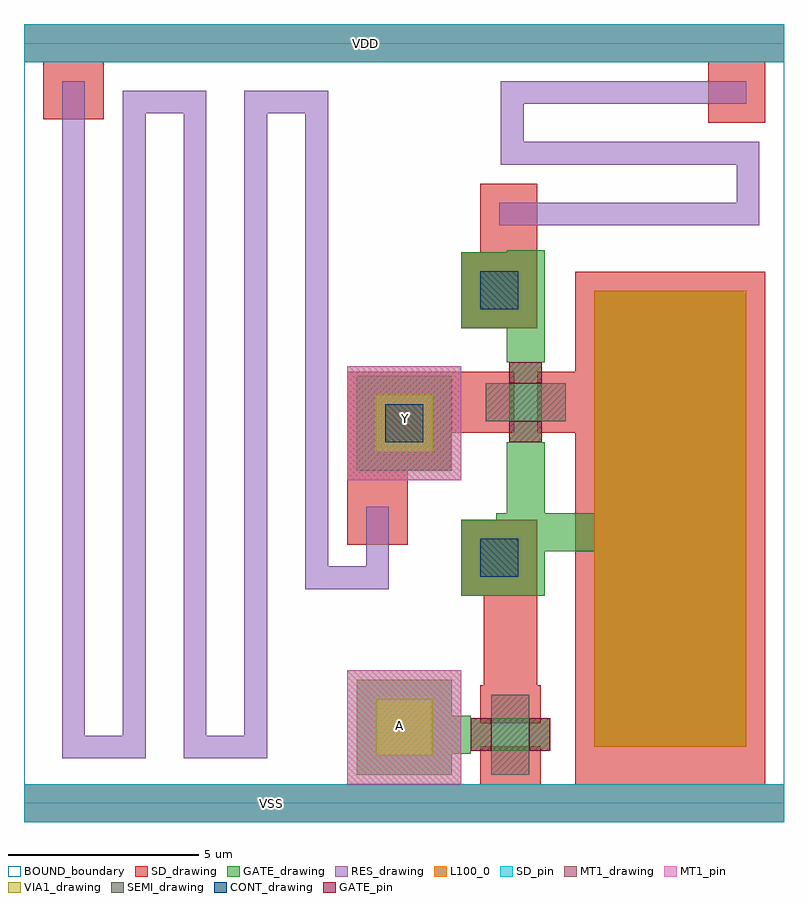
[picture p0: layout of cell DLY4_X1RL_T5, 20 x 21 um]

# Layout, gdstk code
from math import pi, radians
import gdstk
lib = gdstk.Library(unit=1e-6, precision=1e-09)
def R(c, l, rs):  # rectangles x0, y0, x1, y1
    for r in rs: c.add(gdstk.rectangle(r[:2], r[2:], *l))
def P(c, l, *ps):  # polygons
    for p in ps: c.add(gdstk.Polygon(p, *l))
RES_drawing = (1, 0)
SEMI_drawing = (3, 0)
SD_drawing = (10, 0)
SD_pin = (10, 3)
GATE_drawing = (11, 0)
GATE_pin = (11, 3)
MT1_drawing = (20, 0)
MT1_pin = (20, 3)
CONT_drawing = (30, 0)
VIA1_drawing = (41, 0)
L100_0 = (100, 0)
BOUND_boundary = (150, 5)

nch_cdns_772544874980 = lib.new_cell('nch_CDNS_772544874980')
R(nch_cdns_772544874980, SEMI_drawing, [(-1.05,-0.5,1.05,0.5)])
R(nch_cdns_772544874980, SD_drawing, [(-1.3,-0.8,-0.3,0.8), (0.3,-0.8,1.3,0.8)])
R(nch_cdns_772544874980, GATE_drawing, [(-0.425,-1.05,0.425,1.05)])
R(nch_cdns_772544874980, GATE_pin, [(-0.425,-1.05,0.425,-0.5), (-0.425,0.5,0.425,1.05)])

cap_cdns_772544874981 = lib.new_cell('cap_CDNS_772544874981')
R(cap_cdns_772544874981, SD_drawing, [(-6.5,-2.5,6.5,2.5)])
R(cap_cdns_772544874981, GATE_drawing, [(-6,-2,6,2)])
R(cap_cdns_772544874981, L100_0, [(-6,-2,6,2)])

sd_gate_cdns_77254487498 = lib.new_cell('SD_GATE_CDNS_772544874980')
R(sd_gate_cdns_77254487498, SD_drawing, [(-1,-1,1,1)])
R(sd_gate_cdns_77254487498, GATE_drawing, [(-1,-1,1,1)])
R(sd_gate_cdns_77254487498, CONT_drawing, [(-0.5,-0.5,0.5,0.5)])

c_sd_gate_cdns_77254487498 = lib.new_cell('SD_GATE_CDNS_772544874981')
R(c_sd_gate_cdns_77254487498, SD_drawing, [(-1.25,-1.25,1.25,1.25)])
R(c_sd_gate_cdns_77254487498, GATE_drawing, [(-1.25,-1.25,1.25,1.25)])
R(c_sd_gate_cdns_77254487498, CONT_drawing, [(-0.5,-0.5,0.5,0.5)])

gate_mt1_cdns_7725448749 = lib.new_cell('GATE_MT1_CDNS_772544874982')
R(gate_mt1_cdns_7725448749, GATE_drawing, [(-1.25,-1.25,1.25,1.25)])
R(gate_mt1_cdns_7725448749, MT1_drawing, [(-1.25,-1.25,1.25,1.25)])
R(gate_mt1_cdns_7725448749, VIA1_drawing, [(-0.75,-0.75,0.75,0.75)])

dly4_x1rl_t5 = lib.new_cell('DLY4_X1RL_T5')
R(dly4_x1rl_t5, SD_drawing, [(0,-0.5,20,0.5), (12.1,3.1,13.5,5.75), (8.5,6.8,10.1,11.35), (12,14.7,13.5,16.3), (18,17.9,19.5,19.5), (0.5,18,2.1,19.5), (0,19.5,20,20.5)])
R(dly4_x1rl_t5, SD_pin, [(0,-0.5,20,0.5), (0,19.5,20,20.5)])
R(dly4_x1rl_t5, GATE_drawing, [(12.425,6.625,15,7.625)])
P(dly4_x1rl_t5, GATE_drawing, [(13.7,11.7),(12.7,11.7),(12.7,11.6),(12.825,11.6),(12.825,11.55),(13.575,11.55),(13.575,11.6),(13.7,11.6)],
  [(13.7,9.4),(12.7,9.4),(12.7,9.5),(12.825,9.5),(12.825,9.55),(13.575,9.55),(13.575,9.5),(13.7,9.5)],
  [(11.65,2.3),(11.65,1.3),(11.75,1.3),(11.75,1.425),(11.8,1.425),(11.8,2.175),(11.75,2.175),(11.75,2.3)])
R(dly4_x1rl_t5, MT1_drawing, [(8.5,0.5,11.5,3.5), (8.5,8.5,11.5,11.5)])
R(dly4_x1rl_t5, MT1_pin, [(8.5,0.5,11.5,3.5), (8.5,8.5,11.5,11.5)])
R(dly4_x1rl_t5, BOUND_boundary, [(0,0,20,20)])
dly4_x1rl_t5.add(gdstk.FlexPath([(11.65,1.8),(11.25,1.8)], 1, ends="flush", simple_path=True, layer=11, datatype=0))  # GATE_drawing
dly4_x1rl_t5.add(gdstk.FlexPath([(13.2,11.7),(13.2,14.55)], 1, ends="flush", simple_path=True, layer=11, datatype=0))  # GATE_drawing
dly4_x1rl_t5.add(gdstk.FlexPath([(13.2,9.4),(13.2,5.45)], 1, ends="flush", simple_path=True, layer=11, datatype=0))  # GATE_drawing
dly4_x1rl_t5.add(gdstk.FlexPath([(11.9,10.55),(8.75,10.55)], 1.6, ends="flush", simple_path=True, layer=10, datatype=0))  # SD_drawing
dly4_x1rl_t5.add(gdstk.FlexPath([(17,0.975),(17,0)], 5, ends="flush", simple_path=True, layer=10, datatype=0))  # SD_drawing
dly4_x1rl_t5.add(gdstk.FlexPath([(12.75,14.7),(12.75,12.5)], 1.5, ends="flush", simple_path=True, layer=10, datatype=0))  # SD_drawing
dly4_x1rl_t5.add(gdstk.FlexPath([(9.3,7.8),(9.3,5.925),(7.7,5.925),(7.7,18.45),(6.1,18.45),(6.1,1.475),(4.5,1.475),(4.5,18.45),(2.9,18.45),(2.9,1.475),(1.3,1.475),(1.3,19)], 0.6, ends="flush", simple_path=True, layer=1, datatype=0))  # RES_drawing
dly4_x1rl_t5.add(gdstk.FlexPath([(12.5,15.5),(19.05,15.5),(19.05,17.1),(12.85,17.1),(12.85,18.7),(19,18.7)], 0.6, ends="flush", simple_path=True, layer=1, datatype=0))  # RES_drawing
dly4_x1rl_t5.add(gdstk.Reference(nch_cdns_772544874980, (13.2,10.55), rotation=pi))
dly4_x1rl_t5.add(gdstk.Reference(nch_cdns_772544874980, (12.8,1.8), rotation=pi/2, x_reflection=True))
dly4_x1rl_t5.add(gdstk.Reference(cap_cdns_772544874981, (17,7.475), rotation=pi/2))
dly4_x1rl_t5.add(gdstk.Reference(sd_gate_cdns_77254487498, (12.5,13.5)))
dly4_x1rl_t5.add(gdstk.Reference(sd_gate_cdns_77254487498, (12.5,6.45)))
dly4_x1rl_t5.add(gdstk.Reference(c_sd_gate_cdns_77254487498, (10,10)))
dly4_x1rl_t5.add(gdstk.Reference(gate_mt1_cdns_7725448749, (10,2)))
dly4_x1rl_t5.add(gdstk.Reference(gate_mt1_cdns_7725448749, (10,10)))
dly4_x1rl_t5.add(gdstk.Label('A', (9.875,2.05), layer=20, texttype=3))
dly4_x1rl_t5.add(gdstk.Label('Y', (10.05,10.125), layer=20, texttype=3))
dly4_x1rl_t5.add(gdstk.Label('VDD', (8.975,20), layer=10, texttype=3))
dly4_x1rl_t5.add(gdstk.Label('VSS', (6.5,0), layer=10, texttype=3))

lib.write_gds('DLY4_X1RL_T5.gds')
